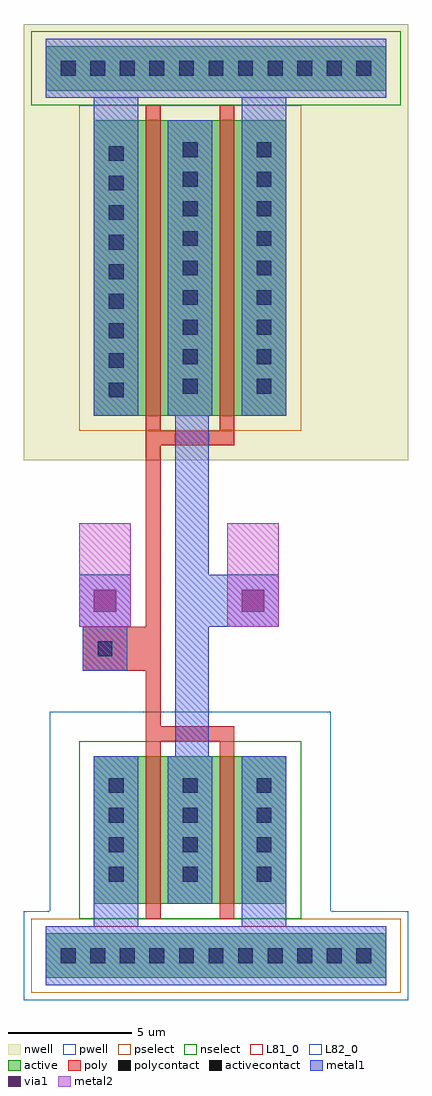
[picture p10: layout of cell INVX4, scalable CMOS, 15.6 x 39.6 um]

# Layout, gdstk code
import gdstk
lib = gdstk.Library(unit=1e-6, precision=1e-09)
def R(c, l, rs):  # rectangles x0, y0, x1, y1
    for r in rs: c.add(gdstk.rectangle(r[:2], r[2:], *l))
def A(c, l, x, y, w, h, nx, ny, dx, dy):  # array of equal rectangles
    R(c, l, [(x+i*dx, y+j*dy, x+i*dx+w, y+j*dy+h) for i in range(nx) for j in range(ny)])
pwell = (41, 0)
nwell = (42, 0)
active = (43, 0)
pselect = (44, 0)
nselect = (45, 0)
poly = (46, 0)
polycontact = (47, 0)
activecontact = (48, 0)
metal1 = (49, 0)
via1 = (50, 0)
metal2 = (51, 0)
L81_0 = (81, 0)
L82_0 = (82, 0)

invx4 = lib.new_cell('INVX4')
R(invx4, pwell, [(-1.8,-1.8,13.8,1.8), (-0.75,1.8,10.65,9.9)])
R(invx4, nwell, [(-1.8,20.1,13.8,37.8)])
R(invx4, active, [(-0.9,-0.9,12.9,0.9), (1.05,2.1,8.85,8.1), (1.05,21.9,8.85,33.9), (-0.9,35.1,12.9,36.9)])
R(invx4, pselect, [(-1.5,-1.5,13.5,1.5), (0.45,21.3,9.45,34.5)])
R(invx4, nselect, [(0.45,1.5,9.45,8.7), (-1.5,34.5,13.5,37.5)])
R(invx4, poly, [(3.15,1.5,3.75,8.7), (6.15,1.5,6.75,8.7), (3.15,8.7,6.75,9.3), (3.15,9.3,3.75,11.55), (0.6,11.55,3.75,13.35), (3.15,13.35,3.75,20.7), (3.15,20.7,6.75,21.3), (3.15,21.3,3.75,34.5), (6.15,21.3,6.75,34.5)])
R(invx4, polycontact, [(1.2,12.15,1.8,12.75)])
A(invx4, activecontact, -0.3, -0.3, 0.6, 0.6, 11, 2, 1.2, 36)
A(invx4, activecontact, 1.65, 3, 0.6, 0.6, 3, 4, 3, 1.2)
A(invx4, activecontact, 1.65, 22.65, 0.6, 0.6, 1, 9, 0, 1.2)
A(invx4, activecontact, 4.65, 22.8, 0.6, 0.6, 1, 9, 0, 1.2)
A(invx4, activecontact, 7.65, 22.8, 0.6, 0.6, 1, 9, 0, 1.2)
R(invx4, metal1, [(-0.9,-1.2,12.9,1.2), (1.05,1.2,2.85,8.1), (7.05,1.2,8.85,8.1), (4.05,2.1,5.85,8.1), (4.35,8.1,5.7,13.35), (0.6,11.55,2.4,13.35), (0.45,13.35,2.55,15.45), (4.35,13.35,8.55,15.45), (4.35,15.45,5.7,21.9), (1.05,21.9,2.85,34.8), (4.05,21.9,5.85,33.9), (7.05,21.9,8.85,34.8), (-0.9,34.8,12.9,37.2)])
R(invx4, via1, [(1.05,13.95,1.95,14.85), (7.05,13.95,7.95,14.85)])
R(invx4, metal2, [(0.45,13.35,2.55,17.55), (6.45,13.35,8.55,17.55)])
R(invx4, L81_0, [(-0.9,-1.2,12.9,1.2), (-0.9,34.8,12.9,37.2)])
R(invx4, L82_0, [(0.45,15.45,2.55,17.55), (6.45,15.45,8.55,17.55)])

lib.write_gds('INVX4.gds')
